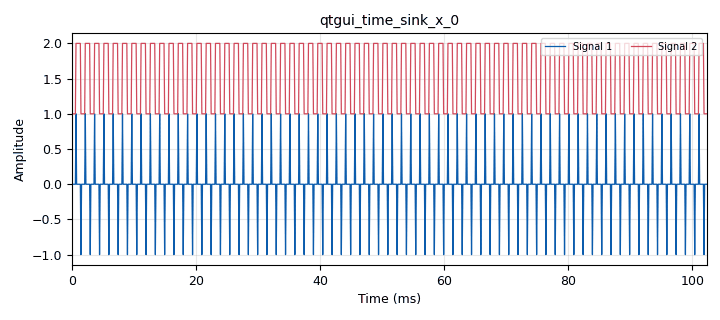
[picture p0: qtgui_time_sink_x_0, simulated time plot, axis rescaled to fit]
options:
  parameters:
    generate_options: qt_gui
    id: Diferenciador
    output_language: python
    title: Not titled yet
  states: {}

blocks:
- name: Amplitud
  id: variable_qtgui_range
  parameters:
    start: '1'
    step: '1'
    stop: '60000'
    value: '1'
  states: {}
- name: samp_rate
  id: variable
  parameters:
    value: '10000'
  states: {}
- name: blocks_vector_source_x_0
  id: blocks_vector_source_x
  parameters:
    repeat: 'True'
    type: float
    vector: (0,0,0,0,0,0,1,1,1,1,1,1)
  states: {state: disabled}
- name: blocks_vector_source_x_1
  id: blocks_vector_source_x
  parameters:
    repeat: 'True'
    type: float
    vector: (1,1,1,1,1,1,1,2,2,2,2,2,2,2,2)
  states: {}
- name: epy_block_0
  id: epy_block
  parameters:
    _source_code: "import numpy as np\nfrom gnuradio import gr\n\nclass blk(gr.sync_block):  \n    def __init__(self):  \n        gr.sync_block.__init__(\n            self,\n            name='e_Dif',   \n            in_sig=[np.float32],\n            out_sig=[np.float32]\n        )\n        self.acum_anterior = 0\n        \n    def work(self, input_items, output_items):\n        x = input_items[0]  # Señal de entrada\n        y = output_items[0]  # Señal de salida\n        N = len(x)\n\n        # Diferenciación acumulada: y[n] = x[n] - acum_anterior\n        for i in range(N):\n            y[i] = x[i] - self.acum_anterior  # Restamos el valor acumulado anterior\n            self.acum_anterior = x[i]  # Actualizamos el acumulado con el valor actual\n        \n        return len(y)\n    \n"
  states: {}
- name: qtgui_time_sink_x_0
  id: qtgui_time_sink_x
  parameters:
    nconnections: '2'
    size: '1024'
    srate: samp_rate
    type: float
  states: {}

connections:
- [blocks_vector_source_x_0, '0', epy_block_0, '0']
- [blocks_vector_source_x_1, '0', epy_block_0, '0']
- [blocks_vector_source_x_1, '0', qtgui_time_sink_x_0, '1']
- [epy_block_0, '0', qtgui_time_sink_x_0, '0']

metadata:
  file_format: 1
  grc_version: v3.10.11.0-89-ga17f69e7
